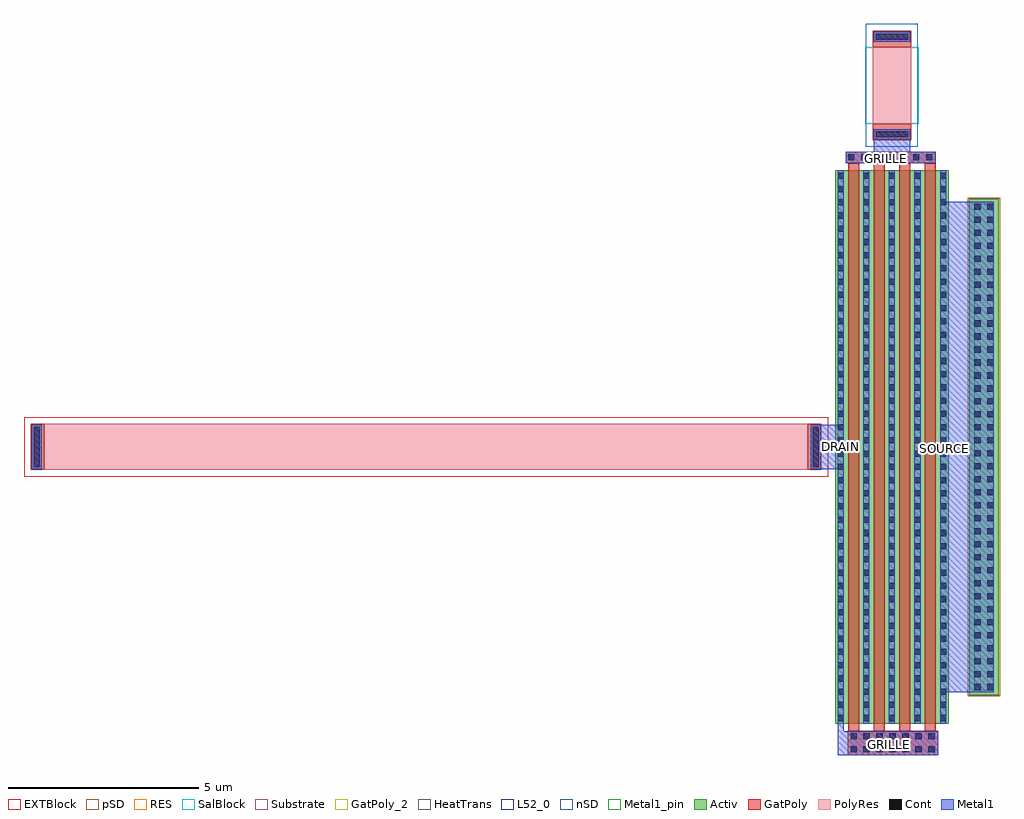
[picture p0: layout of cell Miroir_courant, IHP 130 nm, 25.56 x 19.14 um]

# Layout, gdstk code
from math import pi, radians
import gdstk
lib = gdstk.Library(unit=1e-6, precision=1e-09)
def R(c, l, rs):  # rectangles x0, y0, x1, y1
    for r in rs: c.add(gdstk.rectangle(r[:2], r[2:], *l))
def A(c, l, x, y, w, h, nx, ny, dx, dy):  # array of equal rectangles
    R(c, l, [(x+i*dx, y+j*dy, x+i*dx+w, y+j*dy+h) for i in range(nx) for j in range(ny)])
Activ = (1, 0)
GatPoly = (5, 0)
GatPoly_2 = (5, 2)
Cont = (6, 0)
nSD = (7, 0)
Metal1 = (8, 0)
Metal1_pin = (8, 2)
pSD = (14, 0)
RES = (24, 0)
SalBlock = (28, 0)
Substrate = (40, 0)
HeatTrans = (51, 0)
L52_0 = (52, 0)
EXTBlock = (111, 0)
PolyRes = (128, 0)

nmos = lib.new_cell('nmos')
A(nmos, Activ, 0, 0, 0.3, 0.3, 5, 1, 0.67, 0)
R(nmos, Activ, [(0,0,2.98,14.5)])
A(nmos, GatPoly, 0.34, -0.18, 0.29, 14.86, 4, 1, 0.67, 0)
R(nmos, GatPoly_2, [(0.34,-0.18,0.63,14.68)])
A(nmos, Cont, 0.07, 0.07, 0.16, 0.16, 5, 4, 0.67, 0.345)
A(nmos, Cont, 0.07, 1.455, 0.16, 0.16, 5, 4, 0.67, 0.345)
A(nmos, Cont, 0.07, 2.84, 0.16, 0.16, 5, 4, 0.67, 0.345)
A(nmos, Cont, 0.07, 4.225, 0.16, 0.16, 5, 3, 0.67, 0.345)
A(nmos, Cont, 0.07, 5.265, 0.16, 0.16, 5, 4, 0.67, 0.345)
A(nmos, Cont, 0.07, 6.65, 0.16, 0.16, 5, 4, 0.67, 0.345)
A(nmos, Cont, 0.07, 8.035, 0.16, 0.16, 5, 4, 0.67, 0.345)
A(nmos, Cont, 0.07, 9.42, 0.16, 0.16, 5, 3, 0.67, 0.345)
A(nmos, Cont, 0.07, 10.46, 0.16, 0.16, 5, 4, 0.67, 0.345)
A(nmos, Cont, 0.07, 11.845, 0.16, 0.16, 5, 4, 0.67, 0.345)
A(nmos, Cont, 0.07, 13.23, 0.16, 0.16, 5, 3, 0.67, 0.345)
A(nmos, Cont, 0.07, 14.27, 0.16, 0.16, 5, 1, 0.67, 0)
A(nmos, Metal1, 0.07, 0, 0.16, 14.5, 5, 1, 0.67, 0)
R(nmos, Metal1_pin, [(0.07,0,0.23,14.5), (0.74,0,0.9,14.5)])
A(nmos, HeatTrans, 0.34, -0.18, 0.29, 14.86, 4, 1, 0.67, 0)
nmos.add(gdstk.Label('nmos', (0.485,7.25), layer=63, texttype=0))
nmos.add(gdstk.Label('nmos', (0.485,7.25), layer=51, texttype=0))
nmos.add(gdstk.Label('nmos', (1.155,7.25), layer=51, texttype=0))
nmos.add(gdstk.Label('nmos', (1.825,7.25), layer=51, texttype=0))
nmos.add(gdstk.Label('nmos', (2.495,7.25), layer=51, texttype=0))

nmos3 = lib.new_cell('Nmos3')
nmos3.add(gdstk.Reference(nmos, (-104.265,-35.175), rotation=pi/2))

rhigh_1 = lib.new_cell('rhigh$1')
R(rhigh_1, GatPoly, [(0,-0.43,1,0), (0,2,1,2.43)])
R(rhigh_1, Cont, [(0.07,-0.36,0.93,-0.2), (0.07,2.2,0.93,2.36)])
R(rhigh_1, nSD, [(-0.18,-0.61,1.18,0.18), (-0.18,0,1.18,2), (-0.18,0,1.18,2), (-0.18,1.82,1.18,2.61)])
R(rhigh_1, Metal1, [(0.02,-0.41,0.98,-0.15), (0.02,2.15,0.98,2.41)])
R(rhigh_1, Metal1_pin, [(0.02,-0.41,0.98,-0.15), (0.02,2.15,0.98,2.41)])
R(rhigh_1, pSD, [(-0.18,-0.61,1.18,0.18), (-0.18,0,1.18,2), (-0.18,0,1.18,2), (-0.18,1.82,1.18,2.61)])
R(rhigh_1, SalBlock, [(-0.2,0,1.2,2)])
R(rhigh_1, L52_0, [(0,0,1,2)])
R(rhigh_1, EXTBlock, [(-0.18,-0.61,1.18,0.18), (-0.2,0,1.2,2), (-0.18,1.82,1.18,2.61)])
R(rhigh_1, PolyRes, [(0,0,1,2)])
rhigh_1.add(gdstk.Label('rpnd r=2993.333', (0.5,1), layer=63, texttype=0))
rhigh_1.add(gdstk.Label('rhigh', (0.5,1), layer=52, texttype=0))

rhigh1_rf = lib.new_cell('Rhigh1_rf')
rhigh1_rf.add(gdstk.Reference(rhigh_1, (10.065,32.585)))

ptap1_1 = lib.new_cell('ptap1$1')
R(ptap1_1, Activ, [(0,0,0.78,13)])
A(ptap1_1, Cont, 0.14, 0.13, 0.16, 0.16, 1, 38, 0, 0.34)
A(ptap1_1, Cont, 0.48, 0.13, 0.16, 0.16, 1, 38, 0, 0.34)
R(ptap1_1, Metal1, [(0.14,0.08,0.64,12.92), (0.14,0.13,0.64,12.87)])
R(ptap1_1, Metal1_pin, [(0.14,0.13,0.64,12.87)])
R(ptap1_1, pSD, [(-0.03,-0.03,0.81,13.03)])
R(ptap1_1, Substrate, [(0,0,0.78,13)])
ptap1_1.add(gdstk.Label('sub!', (0.39,0.01), layer=63, texttype=0))
ptap1_1.add(gdstk.Label('sub!', (0.39,0.01), layer=40, texttype=0))

rsil_1 = lib.new_cell('rsil$1')
R(rsil_1, GatPoly, [(0,-0.35,1.2,0), (0,20,1.2,20.35)])
R(rsil_1, Cont, [(0.07,-0.28,1.13,-0.12), (0.07,20.12,1.13,20.28)])
R(rsil_1, Metal1, [(0.02,-0.33,1.18,-0.07), (0.02,20.07,1.18,20.33)])
R(rsil_1, Metal1_pin, [(0.02,-0.33,1.18,-0.07), (0.02,20.07,1.18,20.33)])
R(rsil_1, RES, [(0,0,1.2,20)])
R(rsil_1, L52_0, [(0,0,1.2,20)])
R(rsil_1, EXTBlock, [(-0.18,-0.53,1.38,0), (-0.18,0,1.38,20), (-0.18,0,1.38,20.53)])
R(rsil_1, PolyRes, [(0,0,1.2,20)])
rsil_1.add(gdstk.Label('rsil r=123', (0.6,10), layer=63, texttype=0))
rsil_1.add(gdstk.Label('rsil', (0.6,10), layer=52, texttype=0))

miroir_courant = lib.new_cell('Miroir_courant')
R(miroir_courant, GatPoly, [(0.495,29.6,2.86,30.24), (0.435,45.1,2.8,45.4)])
A(miroir_courant, Cont, 1.245, 29.67, 0.16, 0.16, 5, 2, 0.34, 0.34)
A(miroir_courant, Cont, 1.185, 45.17, 0.16, 0.16, 5, 1, 0.34, 0)
R(miroir_courant, Cont, [(0.565,29.67,0.725,29.83), (0.565,29.67,0.725,29.83), (0.905,29.67,1.065,29.83), (0.905,29.67,1.065,29.83), (1.245,29.67,1.405,29.83), (0.565,30.01,0.725,30.17), (0.565,30.01,0.725,30.17), (0.905,30.01,1.065,30.17), (0.905,30.01,1.065,30.17), (1.245,30.01,1.405,30.17), (0.505,45.17,0.665,45.33), (0.505,45.17,0.665,45.33), (0.845,45.17,1.005,45.33), (0.845,45.17,1.005,45.33), (1.185,45.17,1.345,45.33)])
R(miroir_courant, Metal1, [(0.23,29.6,0.39,30.42), (0.39,29.6,2.86,30.22), (3.07,31.25,3.81,44.09), (-0.22,37.09,0.23,38.25), (0.435,45.1,2.8,45.4), (1.17,45.4,2.13,45.725)])
r = gdstk.Reference(nmos3, (35.335,-73.845), rotation=3*pi/2); r.repetition = gdstk.Repetition(1, 1, v1=(0,0), v2=(0,0)); miroir_courant.add(r)
r = gdstk.Reference(rhigh1_rf, (-8.915,13.55)); r.repetition = gdstk.Repetition(1, 1, v1=(0,0), v2=(0,0)); miroir_courant.add(r)
miroir_courant.add(gdstk.Reference(ptap1_1, (3.67,31.17)))
miroir_courant.add(gdstk.Reference(rsil_1, (-0.55,37.07), rotation=pi/2))
miroir_courant.add(gdstk.Label('GRILLE', (1.515,45.225), layer=63, texttype=0))
miroir_courant.add(gdstk.Label('GRILLE', (1.59,29.875), layer=63, texttype=0))
miroir_courant.add(gdstk.Label('SOURCE', (3.025,37.62), layer=63, texttype=0))
miroir_courant.add(gdstk.Label('DRAIN', (0.29,37.67), layer=63, texttype=0))
miroir_courant.add(gdstk.Label('BULK', (4.07,37.61), layer=63, texttype=0))

lib.write_gds('Miroir_courant.gds')
